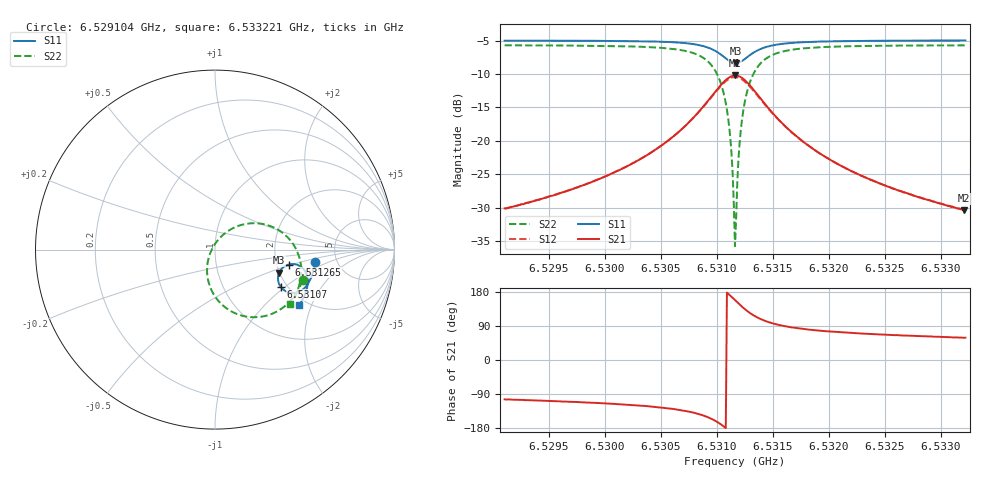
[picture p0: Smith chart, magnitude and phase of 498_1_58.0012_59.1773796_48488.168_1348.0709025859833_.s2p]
#  HZ  S  RI  R  50.00
! Rohde & Schwarz Vector Network Analyzer
! Rohde-Schwarz,ZNB20-2Port,1311601062101988,3.16
! Created: UTC 3/21/2024, 1:12:39 AM
! freq[Hz]  re:S11  im:S11  re:S21  im:S21  re:S12  im:S12  re:S22  im:S22
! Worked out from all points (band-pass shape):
!   401 points, 6.529104 GHz to 6.533221 GHz, reference 50 ohm
!   highest |S21| = -10.22 dB at 6.531162 GHz (marker M1); lowest = -30.3 dB at 6.533211 GHz (marker M2)
!   |S21| within 3 dB of the highest: 6.530959 GHz to 6.53137 GHz (411.1 kHz wide, 0.00629 % of centre)
!   lowest |S11| = -8.4 dB at 6.531173 GHz (marker M3), VSWR 2.23, Z = 99.6 - j30 ohm
!   |S11| at or under -10 dB: nowhere
!   |S22| runs from -35.7 to -5.7 dB; largest |S21 - S12| = 0.012
!   S11 on the Smith chart (normalised r, x): 6.529104 GHz: 3.41, -0.67; 6.53107 GHz: 1.85, -0.93; 6.531265 GHz: 2.33, -0.47; 6.533221 GHz: 1.82, -1.64
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6.5291037e9  0.5569 -0.067  -0.0075 -0.0305  -0.00814 -0.0302  0.4888 -0.1708
6.5297933e9  0.5459 -0.1242  -0.017 -0.0431  -0.018 -0.0426  0.4578 -0.2347
6.530483e9  0.5168 -0.1925  -0.0511 -0.0738  -0.0531 -0.0725  0.376 -0.3253
6.5307198e9  0.4895 -0.222  -0.091 -0.0931  -0.0937 -0.0899  0.2951 -0.3654
6.5308948e9  0.4453 -0.2407  -0.1593 -0.0991  -0.1615 -0.0926  0.1689 -0.3724
6.5309977e9  0.4007 -0.235  -0.2286 -0.0724  -0.2278 -0.0629  0.0508 -0.317
6.5310697e9  0.366 -0.2072  -0.2798 -0.0135  -0.274 -0.00379  -0.0267 -0.2097
6.5311109e9  0.3532 -0.1791  -0.2957 0.0396  -0.2868 0.0474  -0.0445 -0.1187
6.5311212e9  0.3517 -0.1709  -0.2967 0.0545  -0.2872 0.0616  -0.0436 -0.0941
6.5311521e9  0.3525 -0.1456  -0.2908 0.1004  -0.28 0.1046  -0.0266 -0.0196
6.5311624e9  0.3545 -0.1372  -0.2858 0.1153  -0.2749 0.1185  -0.0159 0.00399
6.5311727e9  0.3574 -0.1291  -0.2795 0.1296  -0.2684 0.132  -0.00312 0.0265
6.531183e9  0.3613 -0.1213  -0.2715 0.1432  -0.2607 0.1446  0.0119 0.0475
6.5312036e9  0.3712 -0.1074  -0.2523 0.1675  -0.2422 0.167  0.047 0.0842
6.5312139e9  0.377 -0.1015  -0.2412 0.1778  -0.2316 0.1766  0.0668 0.0995
6.5312653e9  0.4106 -0.0831  -0.1804 0.21  -0.1737 0.2066  0.1726 0.1433
6.5313374e9  0.4538 -0.0835  -0.1043 0.2117  -0.101 0.2085  0.3005 0.1336
6.5314403e9  0.4913 -0.1064  -0.0391 0.1801  -0.0376 0.1783  0.4071 0.066
6.531852e9  0.517 -0.1867  0.0164 0.0866  0.0173 0.0863  0.4804 -0.1277
6.5325417e9  0.4975 -0.2576  0.0182 0.0415  0.0189 0.0412  0.4522 -0.245
6.5332108e9  0.4713 -0.3075  0.0157 0.026  0.0164 0.0259  0.418 -0.3048
6.5332211e9  0.4707 -0.3084  0.0158 0.0261  0.0163 0.0258  0.4176 -0.3057
